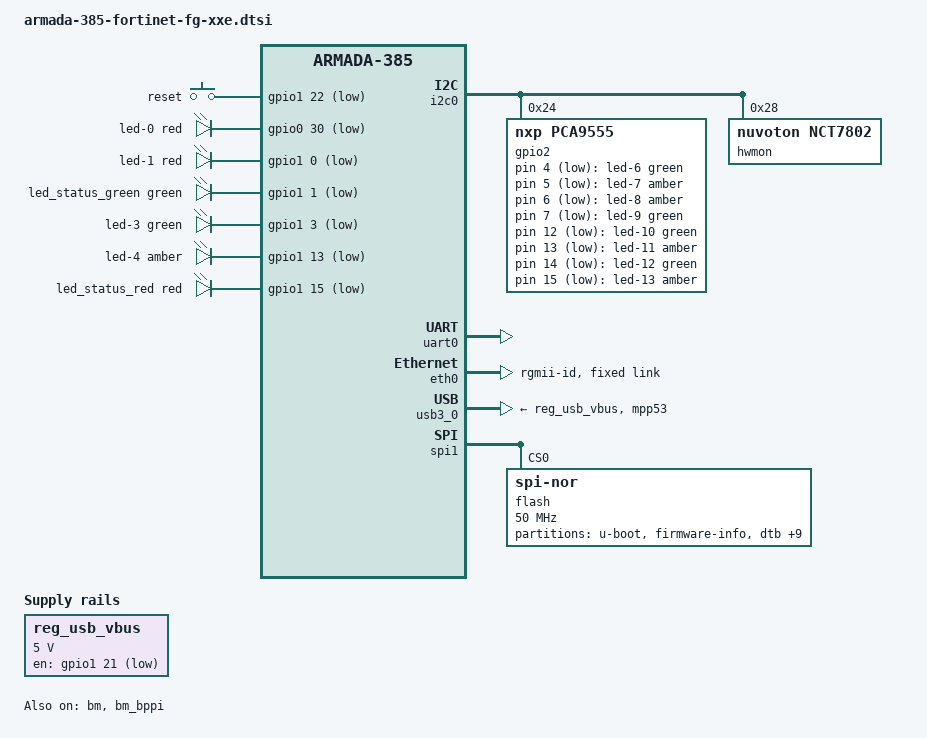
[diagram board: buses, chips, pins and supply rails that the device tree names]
// SPDX-License-Identifier: GPL-2.0-or-later OR MIT

/dts-v1/;

#include <dt-bindings/gpio/gpio.h>
#include <dt-bindings/input/input.h>
#include <dt-bindings/leds/common.h>
#include "armada-385.dtsi"

/ {
	aliases {
		led-boot = &led_status_green;
		led-failsafe = &led_status_red;
		led-running = &led_status_green;
		led-upgrade = &led_status_green;
		label-mac-device = &eth0;
	};

	chosen {
		stdout-path = "serial0:9600n8";
	};

	soc {
		ranges = <MBUS_ID(0xf0, 0x01) 0 0xf1000000 0x100000
			  MBUS_ID(0x01, 0x1d) 0 0xfff00000 0x100000
			  MBUS_ID(0x09, 0x19) 0 0xf1100000 0x10000
			  MBUS_ID(0x09, 0x15) 0 0xf1110000 0x10000
			  MBUS_ID(0x0c, 0x04) 0 0xf1200000 0x100000>;
	};

	gpio-keys {
		compatible = "gpio-keys";
		pinctrl-names = "default";
		pinctrl-0 = <&pmx_gpio_keys_pins>;

		reset {
			label = "reset";
			linux,code = <KEY_RESTART>;
			gpios = <&gpio1 22 GPIO_ACTIVE_LOW>;
		};
	};

	gpio_leds: gpio-leds {
		compatible = "gpio-leds";
		pinctrl-names = "default";
		pinctrl-0 = <&pmx_gpio_leds_pins>;

		led-0 {
			gpios = <&gpio0 30 GPIO_ACTIVE_LOW>;
			color = <LED_COLOR_ID_RED>;
			function = LED_FUNCTION_ALARM;
		};

		led-1 {
			gpios = <&gpio1 0 GPIO_ACTIVE_LOW>;
			color = <LED_COLOR_ID_RED>;
			function = "ha";
		};

		led_status_green: led-2 {
			gpios = <&gpio1 1 GPIO_ACTIVE_LOW>;
			color = <LED_COLOR_ID_GREEN>;
			function = LED_FUNCTION_STATUS;
		};

		led-3 {
			gpios = <&gpio1 3 GPIO_ACTIVE_LOW>;
			color = <LED_COLOR_ID_GREEN>;
			function = "ha";
		};

		led-4 {
			gpios = <&gpio1 13 GPIO_ACTIVE_LOW>;
			color = <LED_COLOR_ID_AMBER>;
			function = LED_FUNCTION_ALARM;
		};

		led_status_red: led-5 {
			gpios = <&gpio1 15 GPIO_ACTIVE_LOW>;
			color = <LED_COLOR_ID_RED>;
			function = LED_FUNCTION_STATUS;
		};

		led-6 {
			gpios = <&gpio2 4 GPIO_ACTIVE_LOW>;
			color = <LED_COLOR_ID_GREEN>;
			function = LED_FUNCTION_SPEED_LAN;
			function-enumerator = <4>;
			linux,default-trigger = "mv88e6xxx-0:01:1Gbps";
		};

		led-7 {
			gpios = <&gpio2 5 GPIO_ACTIVE_LOW>;
			color = <LED_COLOR_ID_AMBER>;
			function = LED_FUNCTION_SPEED_LAN;
			function-enumerator = <4>;
			linux,default-trigger = "mv88e6xxx-0:01:100Mbps";
		};

		led-8 {
			gpios = <&gpio2 6 GPIO_ACTIVE_LOW>;
			color = <LED_COLOR_ID_AMBER>;
			function = LED_FUNCTION_SPEED_LAN;
			function-enumerator = <3>;
			linux,default-trigger = "mv88e6xxx-0:02:100Mbps";
		};

		led-9 {
			gpios = <&gpio2 7 GPIO_ACTIVE_LOW>;
			color = <LED_COLOR_ID_GREEN>;
			function = LED_FUNCTION_SPEED_LAN;
			function-enumerator = <3>;
			linux,default-trigger = "mv88e6xxx-0:02:1Gbps";
		};

		led-10 {
			gpios = <&gpio2 12 GPIO_ACTIVE_LOW>;
			color = <LED_COLOR_ID_GREEN>;
			function = LED_FUNCTION_SPEED_LAN;
			function-enumerator = <1>;
			linux,default-trigger = "mv88e6xxx-0:04:1Gbps";
		};

		led-11 {
			gpios = <&gpio2 13 GPIO_ACTIVE_LOW>;
			color = <LED_COLOR_ID_AMBER>;
			function = LED_FUNCTION_SPEED_LAN;
			function-enumerator = <1>;
			linux,default-trigger = "mv88e6xxx-0:04:100Mbps";
		};

		led-12 {
			gpios = <&gpio2 14 GPIO_ACTIVE_LOW>;
			color = <LED_COLOR_ID_GREEN>;
			function = LED_FUNCTION_SPEED_LAN;
			function-enumerator = <2>;
			linux,default-trigger = "mv88e6xxx-0:03:1Gbps";
		};

		led-13 {
			gpios = <&gpio2 15 GPIO_ACTIVE_LOW>;
			color = <LED_COLOR_ID_AMBER>;
			function = LED_FUNCTION_SPEED_LAN;
			function-enumerator = <2>;
			linux,default-trigger = "mv88e6xxx-0:03:100Mbps";
		};
	};

	reg_usb_vbus: regulator-usb-vbus {
		compatible = "regulator-fixed";
		regulator-name = "usb-vbus";
		regulator-min-microvolt = <5000000>;
		regulator-max-microvolt = <5000000>;
		gpios = <&gpio1 21 GPIO_ACTIVE_LOW>;
		regulator-always-on;
	};
};

&i2c0 {
	pinctrl-names = "default";
	pinctrl-0 = <&i2c0_pins>;
	status = "okay";

	gpio2: gpio@24 {
		compatible = "nxp,pca9555";
		reg = <0x24>;
		gpio-controller;
		#gpio-cells = <0x2>;
	};

	hwmon@28 {
		compatible = "nuvoton,nct7802";
		reg = <0x28>;
	};
};

&uart0 {
	pinctrl-names = "default";
	pinctrl-0 = <&uart0_pins>;
	status = "okay";
};

&pinctrl {
	pmx_gpio_leds_pins: gpio-leds-pins {
		marvell,pins = "mpp30", "mpp32", "mpp33", "mpp35",
			       "mpp45", "mpp47";
		marvell,function = "gpio";
	};

	pmx_usb_pins: usb-pins {
		marvell,pins = "mpp53";
		marvell,function = "gpio";
	};

	pmx_gpio_keys_pins: gpio-keys-pins {
		marvell,pins = "mpp54";
		marvell,function = "gpio";
	};
};

&bm {
	status = "okay";
};

&bm_bppi {
	status = "okay";
};

&eth0 {
	pinctrl-names = "default";
	pinctrl-0 = <&ge0_rgmii_pins>;
	status = "okay";

	phy-connection-type = "rgmii-id";
	buffer-manager = <&bm>;
	bm,pool-long = <0>;
	bm,pool-short = <1>;
	nvmem-cells = <&macaddr_bdinfo_d880 0>;
	nvmem-cell-names = "mac-address";

	fixed-link {
		speed = <1000>;
		full-duplex;
	};
};

&usb3_0 {
	pinctrl-names = "default";
	pinctrl-0 = <&pmx_usb_pins>;
	status = "okay";

	vbus-supply = <&reg_usb_vbus>;
};

&spi1 {
	pinctrl-names = "default";
	pinctrl-0 = <&spi1_pins>;
	status = "okay";

	flash@0 {
		compatible = "jedec,spi-nor";
		reg = <0>;
		spi-max-frequency = <50000000>;

		partitions {
			compatible = "fixed-partitions";
			#address-cells = <1>;
			#size-cells = <1>;

			partition@0 {
				reg = <0x0 0x1c0000>;
				label = "u-boot";
				read-only;
			};

			partition@1c0000 {
				reg = <0x1c0000 0x10000>;
				label = "firmware-info";

				/*
				 *  0x10 - 0x2f : image name (image1)
				 *  0x30 - 0x4f : image name (image2)
				 * 0x170 (1byte): active image (0x0/0x1)
				 * 0x184 - 0x185: kernel block count (image1)
				 * 0x18c - 0x18d: rootfs block count (image1)
				 * 0x194 - 0x195: kernel block count (image2)
				 * 0x19c - 0x19d: rootfs block count (image2)
				 * 0x1be (1byte): bit7 -> active flag (image1)?
				 * 0x1ce (1byte): bit7 -> active flag (image2)?
				 *
				 * Note: block size --> 0x200 (512 bytes)
				 */
			};

			partition@1d0000 {
				reg = <0x1d0000 0x10000>;
				label = "dtb";
				read-only;
			};

			partition@1e0000 {
				reg = <0x1e0000 0x10000>;
				label = "u-boot-env";
				read-only;
			};

			partition@1f0000 {
				reg = <0x1f0000 0x10000>;
				label = "board-info";
				read-only;

				nvmem-layout {
					compatible = "fixed-layout";
					#address-cells = <1>;
					#size-cells = <1>;

					macaddr_bdinfo_d880: macaddr@d880 {
						compatible = "mac-base";
						reg = <0xd880 0x6>;
						#nvmem-cell-cells = <1>;
					};
				};
			};

			partition@200000 {
				reg = <0x200000 0x600000>;
				label = "kernel";
			};

			partition@800000 {
				reg = <0x800000 0x1800000>;
				label = "rootfs";
			};

			partition@2000000 {
				reg = <0x2000000 0x600000>;
				label = "kn2";
				read-only;
			};

			partition@2600000 {
				reg = <0x2600000 0x1800000>;
				label = "rfs2";
				read-only;
			};

			partition@3e00000 {
				reg = <0x3e00000 0x1200000>;
				label = "part1";
				read-only;
			};

			partition@5000000 {
				reg = <0x5000000 0x1200000>;
				label = "part2";
				read-only;
			};

			partition@6200000 {
				reg = <0x6200000 0x1e00000>;
				label = "config";
				read-only;
			};
		};
	};
};
